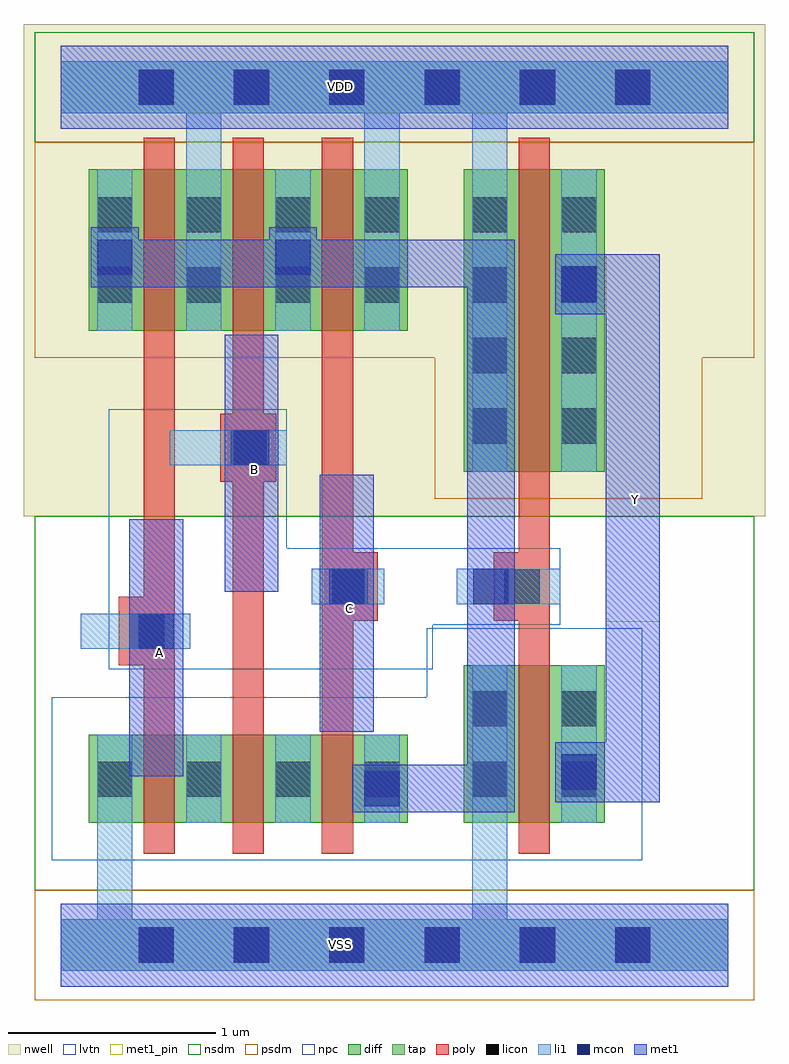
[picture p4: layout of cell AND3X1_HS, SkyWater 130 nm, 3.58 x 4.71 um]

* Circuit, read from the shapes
.subckt AND3X1_HS A B C VDD VSS Y
XM1 n1 A VSS VSS sky130_fd_pr__nfet_01v8_lvt w=0.425 l=0.15
XM2 n2 B n1 VSS sky130_fd_pr__nfet_01v8_lvt w=0.425 l=0.15
XM3 n3 C n2 VSS sky130_fd_pr__nfet_01v8_lvt w=0.425 l=0.15
XM4 Y n3 VSS VSS sky130_fd_pr__nfet_01v8_lvt w=0.76 l=0.15
XM5 VDD A n3 VDD sky130_fd_pr__pfet_01v8 w=0.78 l=0.15
XM6 n3 B VDD VDD sky130_fd_pr__pfet_01v8 w=0.78 l=0.15
XM7 VDD C n3 VDD sky130_fd_pr__pfet_01v8 w=0.78 l=0.15
XM8 Y n3 VDD VDD sky130_fd_pr__pfet_01v8 w=1.46 l=0.15
.ends

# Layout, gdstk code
from math import pi, radians
import gdstk
lib = gdstk.Library(unit=1e-6, precision=1e-09)
def R(c, l, rs):  # rectangles x0, y0, x1, y1
    for r in rs: c.add(gdstk.rectangle(r[:2], r[2:], *l))
def A(c, l, x, y, w, h, nx, ny, dx, dy):  # array of equal rectangles
    R(c, l, [(x+i*dx, y+j*dy, x+i*dx+w, y+j*dy+h) for i in range(nx) for j in range(ny)])
def P(c, l, *ps):  # polygons
    for p in ps: c.add(gdstk.Polygon(p, *l))
nwell = (64, 20)
diff = (65, 20)
tap = (65, 44)
poly = (66, 20)
licon = (66, 44)
li1 = (67, 20)
mcon = (67, 44)
met1_pin = (68, 16)
met1 = (68, 20)
nsdm = (93, 44)
psdm = (94, 20)
npc = (95, 20)
lvtn = (125, 44)

l1m1_c_cdns_750721774072 = lib.new_cell('L1M1_C_CDNS_750721774072')
R(l1m1_c_cdns_750721774072, li1, [(-0.085,-0.165,0.085,0.165)])
R(l1m1_c_cdns_750721774072, mcon, [(-0.085,-0.085,0.085,0.085)])
R(l1m1_c_cdns_750721774072, met1, [(-0.115,-0.145,0.115,0.145)])

pyl1con_c_cdns_750721774 = lib.new_cell('PYL1CON_C_CDNS_750721774073')
R(pyl1con_c_cdns_750721774, poly, [(-0.135,-0.165,0.135,0.165)])
R(pyl1con_c_cdns_750721774, licon, [(-0.085,-0.085,0.085,0.085)])
R(pyl1con_c_cdns_750721774, npc, [(-0.185,-0.185,0.185,0.185)])

l1m1_c_cdns_750721774074 = lib.new_cell('L1M1_C_CDNS_750721774074')
R(l1m1_c_cdns_750721774074, li1, [(-0.165,-0.085,0.165,0.085)])
R(l1m1_c_cdns_750721774074, mcon, [(-0.085,-0.085,0.085,0.085)])
R(l1m1_c_cdns_750721774074, met1, [(-0.115,-0.145,0.115,0.145)])

and3x1_hs = lib.new_cell('AND3X1_HS')
A(and3x1_hs, nwell, -0.045, 2.785, 1.04, 1.14, 3, 1, 0.43, 0)
R(and3x1_hs, nwell, [(-0.18,2.07,3.4,4.305), (1.765,2.105,2.805,3.925), (-0.18,3.875,3.4,4.445)])
A(and3x1_hs, diff, 0.4, 0.59, 0.15, 0.425, 3, 1, 0.43, 0)
A(and3x1_hs, diff, 0.4, 2.965, 0.15, 0.78, 3, 1, 0.43, 0)
R(and3x1_hs, diff, [(0.135,0.59,0.4,1.015), (0.55,0.59,0.815,1.015), (0.565,0.59,0.83,1.015), (0.98,0.59,1.245,1.015), (0.995,0.59,1.26,1.015), (1.41,0.59,1.675,1.015), (1.945,0.59,2.21,1.35), (2.21,0.59,2.36,1.35), (2.36,0.59,2.625,1.35), (1.945,2.285,2.21,3.745), (2.21,2.285,2.36,3.745), (2.36,2.285,2.625,3.745), (0.135,2.965,0.4,3.745), (0.55,2.965,0.815,3.745), (0.565,2.965,0.83,3.745), (0.98,2.965,1.245,3.745), (0.995,2.965,1.26,3.745), (1.41,2.965,1.675,3.745)])
A(and3x1_hs, poly, 0.4, 0.44, 0.15, 0.055, 3, 2, 0.43, 0.67)
A(and3x1_hs, poly, 0.4, 0.495, 0.15, 0.095, 3, 2, 0.43, 0.52)
A(and3x1_hs, poly, 0.4, 0.59, 0.15, 0.425, 3, 1, 0.43, 0)
A(and3x1_hs, poly, 0.4, 2.815, 0.15, 0.055, 3, 2, 0.43, 1.025)
A(and3x1_hs, poly, 0.4, 2.87, 0.15, 0.095, 3, 2, 0.43, 0.875)
A(and3x1_hs, poly, 0.4, 2.965, 0.15, 0.78, 3, 1, 0.43, 0)
R(and3x1_hs, poly, [(2.21,0.44,2.36,0.495), (2.21,0.495,2.36,0.59), (2.21,0.59,2.36,1.35), (2.21,1.35,2.36,1.445), (2.21,1.445,2.36,1.5), (2.21,2.135,2.36,2.19), (2.21,2.19,2.36,2.285), (2.21,2.285,2.36,3.745), (2.21,3.745,2.36,3.84), (2.21,3.84,2.36,3.895)])
A(and3x1_hs, licon, 0.375, -0.085, 0.17, 0.17, 6, 2, 0.46, 4.14)
A(and3x1_hs, licon, 1.985, 2.42, 0.17, 0.17, 1, 4, 0, 0.34)
A(and3x1_hs, licon, 2.415, 2.42, 0.17, 0.17, 1, 4, 0, 0.34)
R(and3x1_hs, licon, [(0.175,0.715,0.345,0.885), (0.605,0.715,0.775,0.885), (0.605,0.715,0.775,0.885), (1.035,0.715,1.205,0.885), (1.035,0.715,1.205,0.885), (1.465,0.715,1.635,0.885), (1.985,0.715,2.155,0.885), (2.415,0.715,2.585,0.885), (1.985,1.055,2.155,1.225), (2.415,1.055,2.585,1.225), (0.175,3.1,0.345,3.27), (0.605,3.1,0.775,3.27), (0.605,3.1,0.775,3.27), (1.035,3.1,1.205,3.27), (1.035,3.1,1.205,3.27), (1.465,3.1,1.635,3.27), (0.175,3.44,0.345,3.61), (0.605,3.44,0.775,3.61), (0.605,3.44,0.775,3.61), (1.035,3.44,1.205,3.61), (1.035,3.44,1.205,3.61), (1.465,3.44,1.635,3.61)])
R(and3x1_hs, li1, [(0.175,-0.125,0.345,0.715), (1.985,-0.085,2.155,0.885), (0.175,0.59,0.345,1.015), (0.605,0.59,0.775,1.015), (0.605,0.59,0.775,1.015), (1.035,0.59,1.205,1.015), (1.035,0.59,1.205,1.015), (1.465,0.59,1.635,1.015), (1.985,0.59,2.155,1.35), (2.415,0.59,2.585,1.35), (1.985,2.285,2.155,3.745), (2.415,2.285,2.585,3.745), (0.175,2.965,0.345,3.745), (0.605,2.965,0.775,3.745), (0.605,2.965,0.775,3.745), (1.035,2.965,1.205,3.745), (1.035,2.965,1.205,3.745), (1.465,2.965,1.635,3.745)])
A(and3x1_hs, mcon, 0.375, -0.085, 0.17, 0.17, 6, 2, 0.46, 4.14)
R(and3x1_hs, met1_pin, [(0.33,0.815,0.59,2.055), (1.25,1.03,1.51,2.27), (2.63,1.56,2.89,3.335), (0.79,1.705,1.05,2.945)])
A(and3x1_hs, nsdm, -0.005, 0.46, 0.96, 0.685, 3, 1, 0.43, 0)
R(and3x1_hs, nsdm, [(-0.125,0.265,3.345,2.07), (1.805,0.46,2.765,1.48), (-0.125,3.875,3.345,4.405), (-0.125,3.93,3.345,4.35)])
A(and3x1_hs, psdm, -0.005, 2.835, 0.96, 1.04, 3, 1, 0.43, 0)
R(and3x1_hs, psdm, [(-0.125,-0.265,3.345,0.265), (-0.125,-0.21,3.345,0.21), (1.805,2.155,3.095,3.875), (-0.125,2.835,3.345,3.875)])
P(and3x1_hs, npc, [(2.41,1.915),(1.09,1.915),(1.09,2.585),(0.23,2.585),(0.23,1.33),(1.795,1.33),(1.795,1.545),(2.41,1.545)])
A(and3x1_hs, lvtn, -0.045, 0.41, 1.04, 0.785, 3, 1, 0.43, 0)
R(and3x1_hs, lvtn, [(1.765,0.41,2.805,1.53)])
and3x1_hs.add(gdstk.FlexPath([(0.475,2.815),(0.475,1.04)], 0.15, ends="flush", simple_path=True, layer=66, datatype=20))  # poly
and3x1_hs.add(gdstk.FlexPath([(2.285,2.27),(2.285,1.5)], 0.15, ends="flush", simple_path=True, layer=66, datatype=20))  # poly
and3x1_hs.add(gdstk.FlexPath([(1.335,2.815),(1.335,1.015)], 0.15, ends="flush", simple_path=True, layer=66, datatype=20))  # poly
and3x1_hs.add(gdstk.FlexPath([(0.905,2.815),(0.905,0.905)], 0.15, ends="flush", simple_path=True, layer=66, datatype=20))  # poly
and3x1_hs.add(gdstk.FlexPath([(2.07,3.55),(2.07,4.14)], 0.17, ends=(0, 0.125), simple_path=True, layer=67, datatype=20))  # li1
and3x1_hs.add(gdstk.FlexPath([(1.55,3.55),(1.55,4.14)], 0.17, ends=(0, 0.125), simple_path=True, layer=67, datatype=20))  # li1
and3x1_hs.add(gdstk.FlexPath([(0.69,3.55),(0.69,4.14)], 0.17, ends=(0, 0.125), simple_path=True, layer=67, datatype=20))  # li1
and3x1_hs.add(gdstk.FlexPath([(0,0),(3.22,0)], 0.25, ends="flush", simple_path=True, layer=67, datatype=20))  # li1
and3x1_hs.add(gdstk.FlexPath([(0,4.14),(3.22,4.14)], 0.25, ends="flush", simple_path=True, layer=67, datatype=20))  # li1
and3x1_hs.add(gdstk.FlexPath([(1.56,1.73),(1.21,1.73)], 0.17, ends="flush", simple_path=True, layer=67, datatype=20))  # li1
and3x1_hs.add(gdstk.FlexPath([(1.09,2.4),(0.525,2.4)], 0.17, ends="flush", simple_path=True, layer=67, datatype=20))  # li1
and3x1_hs.add(gdstk.FlexPath([(0.095,1.515),(0.6,1.515)], 0.17, ends="flush", simple_path=True, layer=67, datatype=20))  # li1
and3x1_hs.add(gdstk.FlexPath([(2.075,1.73),(2.41,1.73)], 0.17, ends="flush", simple_path=True, layer=67, datatype=20))  # li1
and3x1_hs.add(gdstk.FlexPath([(0,4.14),(3.22,4.14)], 0.4, ends="flush", simple_path=True, layer=68, datatype=20))  # met1
and3x1_hs.add(gdstk.FlexPath([(2.615,0.865),(2.615,0.835)], 0.29, ends=(0, 0.145), simple_path=True, layer=68, datatype=20))  # met1
and3x1_hs.add(gdstk.FlexPath([(0.92,1.705),(0.92,2.945)], 0.26, ends="flush", simple_path=True, layer=68, datatype=20))  # met1
and3x1_hs.add(gdstk.FlexPath([(0.145,3.29),(2.075,3.29)], 0.23, ends=(0, 0.115), simple_path=True, layer=68, datatype=20))  # met1
and3x1_hs.add(gdstk.FlexPath([(2.5,3.19),(2.615,3.19)], 0.29, ends=(0, 0.145), simple_path=True, layer=68, datatype=20))  # met1
and3x1_hs.add(gdstk.FlexPath([(2.76,0.82),(2.76,3.205)], 0.26, ends="extended", simple_path=True, layer=68, datatype=20))  # met1
and3x1_hs.add(gdstk.FlexPath([(1.38,1.03),(1.38,2.27)], 0.26, ends="flush", simple_path=True, layer=68, datatype=20))  # met1
and3x1_hs.add(gdstk.FlexPath([(2.615,3.19),(2.615,3.23)], 0.29, ends=(0.145, 0), simple_path=True, layer=68, datatype=20))  # met1
and3x1_hs.add(gdstk.FlexPath([(2.075,0.85),(2.075,3.06)], 0.23, ends="extended", simple_path=True, layer=68, datatype=20))  # met1
and3x1_hs.add(gdstk.FlexPath([(2.075,3.29),(2.19,3.29)], 0.23, ends=(0.115, 0), simple_path=True, layer=68, datatype=20))  # met1
and3x1_hs.add(gdstk.FlexPath([(1.485,0.755),(2.075,0.755)], 0.23, ends=(0, 0.115), simple_path=True, layer=68, datatype=20))  # met1
and3x1_hs.add(gdstk.FlexPath([(2.615,0.835),(2.5,0.835)], 0.29, ends=(0.145, 0), simple_path=True, layer=68, datatype=20))  # met1
and3x1_hs.add(gdstk.FlexPath([(0.46,0.815),(0.46,2.055)], 0.26, ends="flush", simple_path=True, layer=68, datatype=20))  # met1
and3x1_hs.add(gdstk.FlexPath([(0,0),(3.22,0)], 0.4, ends="flush", simple_path=True, layer=68, datatype=20))  # met1
and3x1_hs.add(gdstk.FlexPath([(0,0),(3.22,0)], 0.4, ends="flush", simple_path=True, layer=68, datatype=16))  # met1_pin
and3x1_hs.add(gdstk.FlexPath([(0,4.14),(3.22,4.14)], 0.4, ends="flush", simple_path=True, layer=68, datatype=16))  # met1_pin
and3x1_hs.add(gdstk.FlexPath([(0,0),(3.22,0)], 0.25, ends="flush", simple_path=True, layer=65, datatype=44))  # tap
and3x1_hs.add(gdstk.FlexPath([(0,4.14),(3.22,4.14)], 0.25, ends="flush", simple_path=True, layer=65, datatype=44))  # tap
and3x1_hs.add(gdstk.Reference(l1m1_c_cdns_750721774072, (2.5,0.835)))
and3x1_hs.add(gdstk.Reference(l1m1_c_cdns_750721774072, (2.5,3.19)))
and3x1_hs.add(gdstk.Reference(l1m1_c_cdns_750721774072, (0.26,3.32)))
and3x1_hs.add(gdstk.Reference(l1m1_c_cdns_750721774072, (1.12,3.32)))
and3x1_hs.add(gdstk.Reference(pyl1con_c_cdns_750721774, (0.905,2.4)))
and3x1_hs.add(gdstk.Reference(pyl1con_c_cdns_750721774, (1.395,1.73)))
and3x1_hs.add(gdstk.Reference(pyl1con_c_cdns_750721774, (0.415,1.515)))
and3x1_hs.add(gdstk.Reference(pyl1con_c_cdns_750721774, (2.225,1.73)))
and3x1_hs.add(gdstk.Reference(l1m1_c_cdns_750721774074, (0.46,1.515), x_reflection=True))
and3x1_hs.add(gdstk.Reference(l1m1_c_cdns_750721774074, (1.38,1.73), x_reflection=True))
and3x1_hs.add(gdstk.Reference(l1m1_c_cdns_750721774074, (0.92,2.4), x_reflection=True))
and3x1_hs.add(gdstk.Reference(l1m1_c_cdns_750721774074, (2.075,1.73)))
and3x1_hs.add(gdstk.Reference(l1m1_c_cdns_750721774074, (1.55,0.755), rotation=3*pi/2))
and3x1_hs.add(gdstk.Label('VDD', (1.351,4.145), layer=68, texttype=5))
and3x1_hs.add(gdstk.Label('B', (0.935,2.295), layer=68, texttype=5))
and3x1_hs.add(gdstk.Label('C', (1.395,1.625), layer=68, texttype=5))
and3x1_hs.add(gdstk.Label('A', (0.475,1.41), layer=68, texttype=5))
and3x1_hs.add(gdstk.Label('Y', (2.775,2.15), layer=68, texttype=5))
and3x1_hs.add(gdstk.Label('VSS', (1.35,0.005), layer=68, texttype=5))

lib.write_gds('AND3X1_HS.gds')
